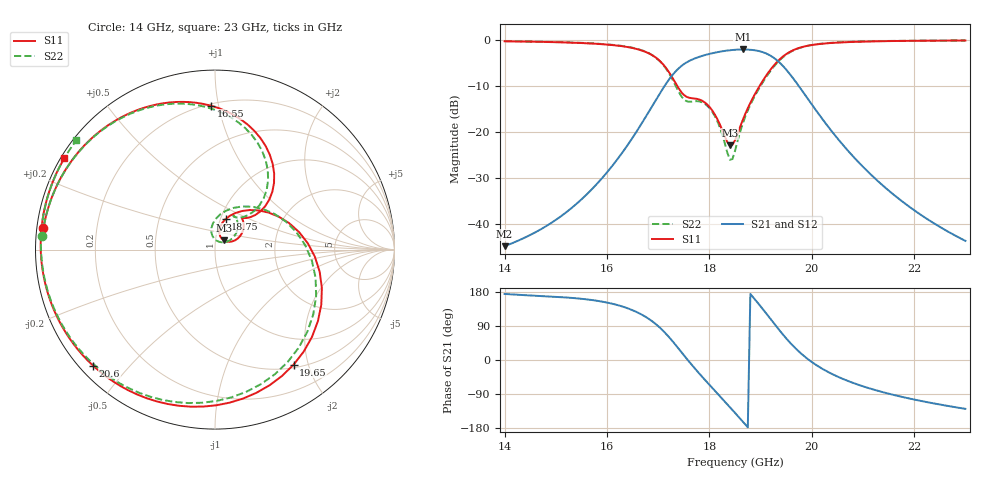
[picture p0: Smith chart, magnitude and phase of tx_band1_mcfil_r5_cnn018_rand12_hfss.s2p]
! Touchstone file exported from HFSS 3D Layout Design 2026.1.0
!  File:  D:/Work/SIM/ADS_AUTO_SIM/projects/RFSOC_RF/TX_Fillter.aedt
!  Generated:  10:55:58 PM Aug 30, 2026
!  Design:  TX_BAND1_MCFIL_R5_CNN018
!  Project:  TX_Fillter
# GHz S MA R 50.000000
! Terminal data exported
! Port[1] = Port1
! Port[2] = Port2
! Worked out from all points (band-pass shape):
!   181 points, 14 GHz to 23 GHz, reference 50 ohm
!   highest |S21| = -2.11 dB at 18.65 GHz (marker M1); lowest = -44.9 dB at 14 GHz (marker M2)
!   |S21| within 3 dB of the highest: 17.53 GHz to 19.38 GHz (1.856 GHz wide, 10.1 % of centre)
!   lowest |S11| = -23.0 dB at 18.4 GHz (marker M3), VSWR 1.15, Z = 54.7 + j5.72 ohm
!   |S11| at or under -10 dB: 17.37 GHz to 18.98 GHz (1.614 GHz wide, 8.88 % of centre)
!   |S22| runs from -26.1 to -0.1 dB; largest |S21 - S12| = 1.4e-14
!   S11 on the Smith chart (normalised r, x): 14 GHz: 0.02, +0.06; 16.55 GHz: 0.21, +0.95; 18.75 GHz: 1.06, +0.37; 19.65 GHz: 0.55, -1.76; 20.6 GHz: 0.04, -0.40; 23 GHz: 0.01, +0.28
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14  0.9632 172.8  0.005681 174.3  0.005681 174.3  0.965 175.5
15.5  0.9219 135.6  0.01832 161.6  0.01832 161.6  0.9258 139.1
16.55  0.8017 91.5  0.09496 128.4  0.09496 128.4  0.8065 96.0
17  0.6103 60.0  0.2441 89.3  0.2441 89.3  0.6083 64.4
17.35  0.3296 40.1  0.4589 38.1  0.4589 38.1  0.3082 44.5
17.55  0.2402 47.0  0.5655 4.5  0.5655 4.5  0.2151 56.3
17.7  0.23 49.3  0.6222 -19.8  0.6222 -19.8  0.214 61.5
17.9  0.2099 40.3  0.6783 -50.5  0.6783 -50.5  0.203 52.5
18.1  0.1558 27.9  0.7228 -80.2  0.7228 -80.2  0.1501 38.0
18.4  0.07084 47.2  0.7693 -124.5  0.7693 -124.5  0.04953 59.1
18.5  0.08062 69.5  0.7782 -139.4  0.7782 -139.4  0.06168 94.6
18.65  0.1334 77.0  0.784 -162.2  0.784 -162.2  0.1221 99.2
18.75  0.1801 70.9  0.7819 -177.8  0.7819 -177.8  0.1705 88.9
18.95  0.2945 48.5  0.7573 149.9  0.7573 149.9  0.2833 58.1
19.2  0.4785 11.8  0.6682 107.3  0.6682 107.3  0.4642 12.0
19.4  0.6325 -19.7  0.5444 73.1  0.5444 73.1  0.6201 -24.7
19.65  0.7763 -55.6  0.3717 35.1  0.3717 35.1  0.7704 -64.4
20  0.8769 -94.2  0.1979 -5.3  0.1979 -5.3  0.8783 -104.8
20.3  0.916 -118.1  0.1171 -30.3  0.1171 -30.3  0.9199 -128.9
20.6  0.9379 -136.4  0.07263 -49.5  0.07263 -49.5  0.9424 -146.9
21.5  0.9675 -173.6  0.02293 -88.8  0.02293 -88.8  0.9709 177.3
23  0.9817 148.8  0.006488 -128.9  0.006488 -128.9  0.9831 141.8
